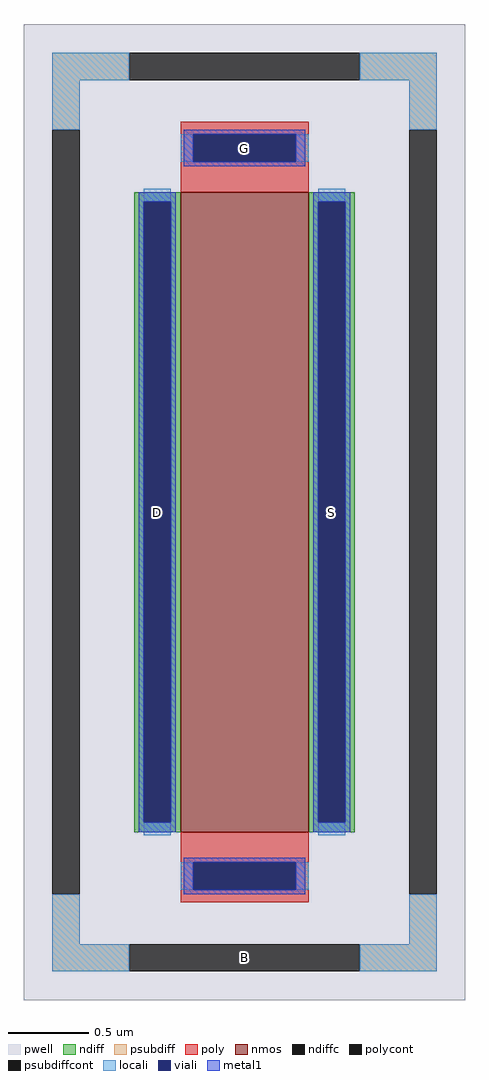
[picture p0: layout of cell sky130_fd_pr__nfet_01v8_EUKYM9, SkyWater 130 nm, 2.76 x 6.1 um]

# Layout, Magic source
magic
tech sky130A
magscale 1 2
<< pwell >>
rect -276 -610 276 610
<< nmos >>
rect -80 -400 80 400
<< ndiff >>
rect -138 388 -80 400
rect -138 -388 -126 388
rect -92 -388 -80 388
rect -138 -400 -80 -388
rect 80 388 138 400
rect 80 -388 92 388
rect 126 -388 138 388
rect 80 -400 138 -388
<< ndiffc >>
rect -126 -388 -92 388
rect 92 -388 126 388
<< psubdiff >>
rect -240 540 -144 574
rect 144 540 240 574
rect -240 478 -206 540
rect 206 478 240 540
rect -240 -540 -206 -478
rect 206 -540 240 -478
rect -240 -574 -144 -540
rect 144 -574 240 -540
<< psubdiffcont >>
rect -144 540 144 574
rect -240 -478 -206 478
rect 206 -478 240 478
rect -144 -574 144 -540
<< poly >>
rect -80 472 80 488
rect -80 438 -64 472
rect 64 438 80 472
rect -80 400 80 438
rect -80 -438 80 -400
rect -80 -472 -64 -438
rect 64 -472 80 -438
rect -80 -488 80 -472
<< polycont >>
rect -64 438 64 472
rect -64 -472 64 -438
<< locali >>
rect -240 540 -144 574
rect 144 540 240 574
rect -240 478 -206 540
rect 206 478 240 540
rect -80 438 -64 472
rect 64 438 80 472
rect -126 388 -92 404
rect -126 -404 -92 -388
rect 92 388 126 404
rect 92 -404 126 -388
rect -80 -472 -64 -438
rect 64 -472 80 -438
rect -240 -540 -206 -478
rect 206 -540 240 -478
rect -240 -574 -144 -540
rect 144 -574 240 -540
<< viali >>
rect -64 438 64 472
rect -126 -388 -92 388
rect 92 -388 126 388
rect -64 -472 64 -438
<< metal1 >>
rect -76 472 76 478
rect -76 438 -64 472
rect 64 438 76 472
rect -76 432 76 438
rect -132 388 -86 400
rect -132 -388 -126 388
rect -92 -388 -86 388
rect -132 -400 -86 -388
rect 86 388 132 400
rect 86 -388 92 388
rect 126 -388 132 388
rect 86 -400 132 -388
rect -76 -438 76 -432
rect -76 -472 -64 -438
rect 64 -472 76 -438
rect -76 -478 76 -472
<< labels >>
rlabel psubdiffcont 0 -557 0 -557 0 B
port 1 nsew
rlabel ndiffc -109 0 -109 0 0 D
port 2 nsew
rlabel ndiffc 109 0 109 0 0 S
port 3 nsew
rlabel polycont 0 455 0 455 0 G
port 4 nsew
<< properties >>
string FIXED_BBOX -223 -557 223 557
string gencell sky130_fd_pr__nfet_01v8
string library sky130
string parameters w 4.0 l 0.8 m 1 nf 1 diffcov 100 polycov 100 guard 1 glc 1 grc 1 gtc 1 gbc 1 tbcov 100 rlcov 100 topc 1 botc 1 poverlap 0 doverlap 1 lmin 0.15 wmin 0.42 class mosfet compatible {sky130_fd_pr__nfet_01v8 sky130_fd_pr__nfet_01v8_lvt  sky130_fd_bs_flash__special_sonosfet_star  sky130_fd_pr__nfet_g5v0d10v5 sky130_fd_pr__nfet_05v0_nvt  sky130_fd_pr__nfet_03v3_nvt} full_metal 1 conn_gates 0 viasrc 100 viadrn 100 viagate 100 viagb 0 viagr 0 viagl 0 viagt 0 doports 1
<< end >>
